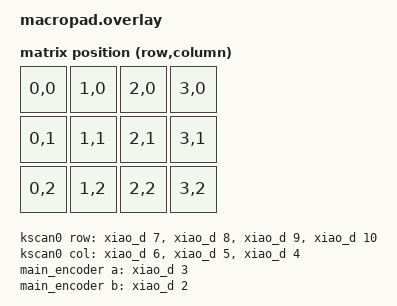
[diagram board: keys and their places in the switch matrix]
#include <dt-bindings/zmk/matrix_transform.h>
#include <dt-bindings/gpio/gpio.h>
#include <physical_layouts.dtsi>

#undef RC
#define RC(row, col) (((row) << 8) | (col))

/ {
    chosen {
        zmk,kscan = &kscan0;
        zmk,physical-layout = &macropad_physical_layout;
    };

    /* --- STEP 1: Define physical keys for the wakeup system --- */
    wakeup_keys {
        compatible = "gpio-keys";
        wakeup_key0: wakeup_key0 {
            gpios = <&xiao_d 7 (GPIO_ACTIVE_HIGH | GPIO_PULL_DOWN)>;
        };
        wakeup_key1: wakeup_key1 {
            gpios = <&xiao_d 8 (GPIO_ACTIVE_HIGH | GPIO_PULL_DOWN)>;
        };
        wakeup_key2: wakeup_key2 {
            gpios = <&xiao_d 9 (GPIO_ACTIVE_HIGH | GPIO_PULL_DOWN)>;
        };
        wakeup_key3: wakeup_key3 {
            gpios = <&xiao_d 10 (GPIO_ACTIVE_HIGH | GPIO_PULL_DOWN)>;
        };
    };

    /* --- STEP 2: Map those physical keys to ZMK Wakeup Triggers --- */
    row0_wake: row0_wake {
        compatible = "zmk,gpio-key-wakeup-trigger";
        trigger = <&wakeup_key0>;
    };
    row1_wake: row1_wake {
        compatible = "zmk,gpio-key-wakeup-trigger";
        trigger = <&wakeup_key1>;
    };
    row2_wake: row2_wake {
        compatible = "zmk,gpio-key-wakeup-trigger";
        trigger = <&wakeup_key2>;
    };
    row3_wake: row3_wake {
        compatible = "zmk,gpio-key-wakeup-trigger";
        trigger = <&wakeup_key3>;
    };

    /* --- STEP 3: Link them to the Soft Off system --- */
    soft_off_waker: soft_off_waker {
        compatible = "zmk,soft-off-wakeup-sources";
        wakeup-sources = <&row0_wake &row1_wake &row2_wake &row3_wake>;
    };

    default_transform: matrix_transform {
        compatible = "zmk,matrix-transform";
        rows = <4>;
        columns = <3>;
        map = <
            RC(0,0) RC(1,0) RC(2,0) RC(3,0)
            RC(0,1) RC(1,1) RC(2,1) RC(3,1)
            RC(0,2) RC(1,2) RC(2,2) RC(3,2)
        >;
    };

    macropad_physical_layout: macropad_physical_layout {
        compatible = "zmk,physical-layout";
        display-name = "AK-34";
        transform = <&default_transform>;
        kscan = <&kscan0>;
        keys = <&key_physical_attrs 100 100 0 0 0 0 0>
             , <&key_physical_attrs 100 100 100 0 0 0 0>
             , <&key_physical_attrs 100 100 200 0 0 0 0>
             , <&key_physical_attrs 100 100 300 0 0 0 0>
             , <&key_physical_attrs 100 100 0 100 0 0 0>
             , <&key_physical_attrs 100 100 100 100 0 0 0>
             , <&key_physical_attrs 100 100 200 100 0 0 0>
             , <&key_physical_attrs 100 100 300 100 0 0 0>
             , <&key_physical_attrs 100 100 0 200 0 0 0>
             , <&key_physical_attrs 100 100 100 200 0 0 0>
             , <&key_physical_attrs 100 100 200 200 0 0 0>
             , <&key_physical_attrs 100 100 300 200 0 0 0>;
    };

    kscan0: kscan0 {
        compatible = "zmk,kscan-gpio-matrix";
        diode-direction = "col2row";
        wakeup-source; 
        row-gpios = <&xiao_d 7 (GPIO_ACTIVE_HIGH | GPIO_PULL_DOWN)>
                  , <&xiao_d 8 (GPIO_ACTIVE_HIGH | GPIO_PULL_DOWN)>
                  , <&xiao_d 9 (GPIO_ACTIVE_HIGH | GPIO_PULL_DOWN)>
                  , <&xiao_d 10 (GPIO_ACTIVE_HIGH | GPIO_PULL_DOWN)>;
        col-gpios = <&xiao_d 6 GPIO_ACTIVE_HIGH>
                  , <&xiao_d 5 GPIO_ACTIVE_HIGH>
                  , <&xiao_d 4 GPIO_ACTIVE_HIGH>;
    };

    main_encoder: encoder_main {
        compatible = "alps,ec11";
        a-gpios = <&xiao_d 3 (GPIO_ACTIVE_HIGH | GPIO_PULL_UP)>;
        b-gpios = <&xiao_d 2 (GPIO_ACTIVE_HIGH | GPIO_PULL_UP)>;
        steps = <24>;
        status = "okay";
    };

    sensors: sensors {
        compatible = "zmk,keymap-sensors";
        sensors = <&main_encoder>;
        triggers-per-rotation = <24>;
    };
};
